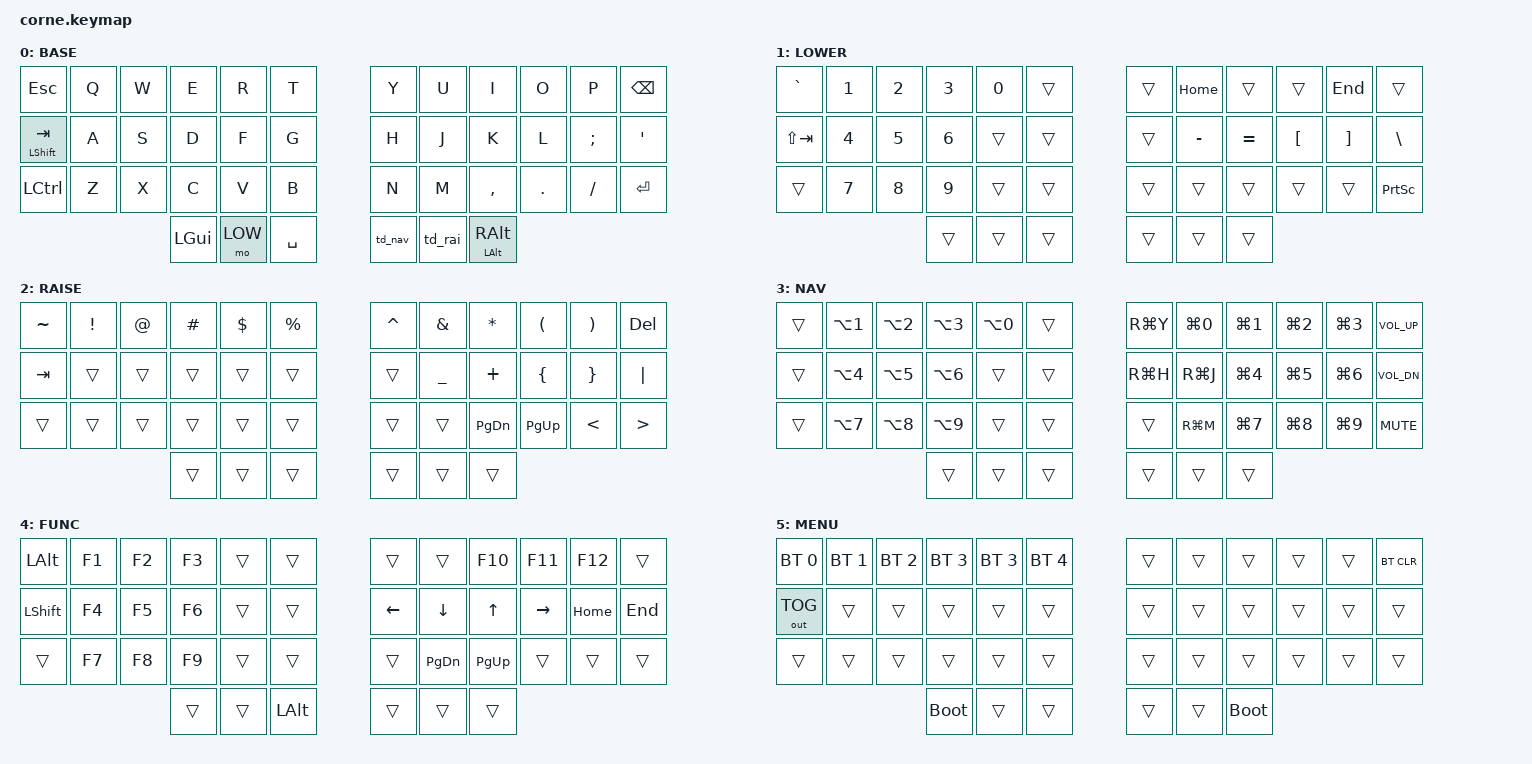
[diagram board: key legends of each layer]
#include <behaviors.dtsi>
#include <dt-bindings/zmk/keys.h>
#include <dt-bindings/zmk/bt.h>
#include <dt-bindings/zmk/outputs.h>
#include <dt-bindings/zmk/ext_power.h>
#include <dt-bindings/led/led.h>
#include <dt-bindings/zmk/backlight.h>
#include <dt-bindings/zmk/rgb.h>
#include <dt-bindings/zmk/reset.h>

#define LOW 1
#define RAI 2
#define NAV 3
#define FNC 4
#define MEN 5

&mt {
    flavor = "hold-preferred";
    tapping-term-ms = <200>;
    quick-tap-ms = <150>;
};

/ {
    behaviors {
        td_nav: tap_dance_nav {
            compatible = "zmk,behavior-tap-dance";
            #binding-cells = <0>;
            tapping-term-ms = <300>;
            bindings = <&mo NAV>, <&mo FNC>;
        };

        td_rai: tap_dance_rai {
            compatible = "zmk,behavior-tap-dance";
            #binding-cells = <0>;
            tapping-term-ms = <300>;
            bindings = <&mo RAI>, <&mo MEN>;
        };
    };

    keymap {
        compatible = "zmk,keymap";

        default_layer {
            display-name = "BASE";
            bindings = <
&kp ESC        &kp Q  &kp W  &kp E     &kp R   &kp T        &kp Y    &kp U   &kp I      &kp O    &kp P     &kp BSPC
&mt LSHFT TAB  &kp A  &kp S  &kp D     &kp F   &kp G        &kp H    &kp J   &kp K      &kp L    &kp SEMI  &kp SQT
&kp LCTRL      &kp Z  &kp X  &kp C     &kp V   &kp B        &kp N    &kp M   &kp COMMA  &kp DOT  &kp FSLH  &kp RET
                             &kp LGUI  &mo LOW &kp SPACE    &td_nav  &td_rai &mt LALT RALT
            >;
        };

        lower_layer {
            display-name = "LOWER";
            bindings = <
&kp GRAVE   &kp N1     &kp N2     &kp N3     &kp N0     &trans           &trans     &kp HOME   &trans     &trans     &kp END    &trans
&kp LS(TAB) &kp N4     &kp N5     &kp N6     &trans     &trans           &trans     &kp MINUS  &kp EQUAL  &kp LBKT   &kp RBKT   &kp BSLH
&trans      &kp N7     &kp N8     &kp N9     &trans     &trans           &trans     &trans     &trans     &trans     &trans     &kp PSCRN
                                  &trans     &trans     &trans           &trans     &trans     &trans
            >;
        };

        raise_layer {
            display-name = "RAISE";
            bindings = <
&kp TILDE  &kp EXCL   &kp AT     &kp HASH   &kp DOLLAR &kp PRCNT        &kp CARET  &kp AMPS   &kp STAR   &kp LPAR   &kp RPAR   &kp DEL
&kp TAB    &trans     &trans     &trans     &trans     &trans           &trans     &kp UNDER  &kp PLUS   &kp LBRC   &kp RBRC   &kp PIPE
&trans     &trans     &trans     &trans     &trans     &trans           &trans     &trans     &kp PG_DN  &kp PG_UP  &kp LT     &kp GT
                                 &trans     &trans     &trans           &trans     &trans     &trans
            >;
        };

        nav_layer {
            display-name = "NAV";
            bindings = <
&trans     &kp LA(N1) &kp LA(N2) &kp LA(N3) &kp LA(N0) &trans           &kp RG(Y)  &kp LG(N0) &kp LG(N1) &kp LG(N2) &kp LG(N3) &kp C_VOL_UP
&trans     &kp LA(N4) &kp LA(N5) &kp LA(N6) &trans     &trans           &kp RG(H)  &kp RG(J)  &kp LG(N4) &kp LG(N5) &kp LG(N6) &kp C_VOL_DN
&trans     &kp LA(N7) &kp LA(N8) &kp LA(N9) &trans     &trans           &trans     &kp RG(M)  &kp LG(N7) &kp LG(N8) &kp LG(N9) &kp C_MUTE
                                 &trans     &trans     &trans           &trans     &trans     &trans
            >;
        };

        fn_layer {
            display-name = "FUNC";
            bindings = <
&kp LALT   &kp F1     &kp F2     &kp F3     &trans          &trans              &trans          &trans          &kp F10    &kp F11    &kp F12    &trans
&kp LSHFT  &kp F4     &kp F5     &kp F6     &trans          &trans              &kp LEFT        &kp DOWN        &kp UP     &kp RIGHT  &kp HOME   &kp END
&trans     &kp F7     &kp F8     &kp F9     &trans          &trans              &trans          &kp PG_DN       &kp PG_UP  &trans     &trans     &trans
                                 &trans     &trans          &kp LALT            &trans          &trans          &trans
            >;
        };

        menu_layer {
            display-name = "MENU";
            bindings = <
&bt BT_SEL 0  &bt BT_SEL 1 &bt BT_SEL 2 &bt BT_SEL 3 &bt BT_SEL 3 &bt BT_SEL 4     &trans     &trans     &trans     &trans     &trans     &bt BT_CLR
&out OUT_TOG  &trans       &trans       &trans       &trans       &trans           &trans     &trans     &trans     &trans     &trans     &trans
&trans        &trans       &trans       &trans       &trans       &trans           &trans     &trans     &trans     &trans     &trans     &trans
                                        &bootloader  &trans       &trans           &trans     &trans     &bootloader
            >;
        };
    };
};
